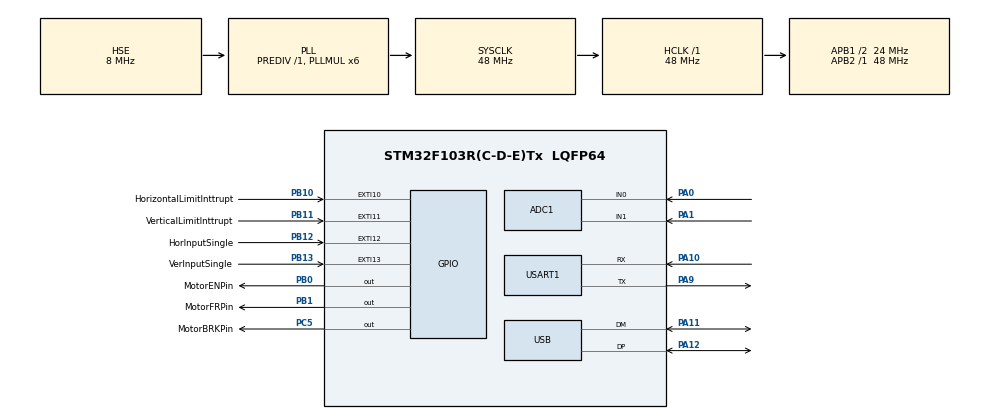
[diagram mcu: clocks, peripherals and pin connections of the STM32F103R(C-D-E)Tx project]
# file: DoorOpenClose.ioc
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ADC1.Channel-0\#ChannelRegularConversion=ADC_CHANNEL_0
ADC1.Channel-1\#ChannelRegularConversion=ADC_CHANNEL_1
ADC1.Channel-2\#ChannelRegularConversion=ADC_CHANNEL_TEMPSENSOR
ADC1.ContinuousConvMode=DISABLE
ADC1.DataAlign=ADC_DATAALIGN_RIGHT
ADC1.DiscontinuousConvMode=DISABLE
ADC1.EnableAnalogWatchDog=false
ADC1.EnableRegularConversion=ENABLE
ADC1.ExternalTrigConv=ADC_SOFTWARE_START
ADC1.InjNumberOfConversion=0
ADC1.NbrOfConversion=3
ADC1.NbrOfConversionFlag=1
ADC1.Rank-0\#ChannelRegularConversion=1
ADC1.Rank-1\#ChannelRegularConversion=2
ADC1.Rank-2\#ChannelRegularConversion=3
ADC1.SamplingTime-0\#ChannelRegularConversion=ADC_SAMPLETIME_1CYCLE_5
ADC1.SamplingTime-1\#ChannelRegularConversion=ADC_SAMPLETIME_1CYCLE_5
ADC1.SamplingTime-2\#ChannelRegularConversion=ADC_SAMPLETIME_1CYCLE_5
ADC1.ScanConvMode=ADC_SCAN_ENABLE
ADC1.master=1
Dma.ADC1.0.Direction=DMA_PERIPH_TO_MEMORY
Dma.ADC1.0.Instance=DMA1_Channel1
Dma.ADC1.0.MemDataAlignment=DMA_MDATAALIGN_WORD
Dma.ADC1.0.MemInc=DMA_MINC_ENABLE
Dma.ADC1.0.Mode=DMA_CIRCULAR
Dma.ADC1.0.PeriphDataAlignment=DMA_PDATAALIGN_WORD
Dma.ADC1.0.PeriphInc=DMA_PINC_DISABLE
Dma.ADC1.0.Priority=DMA_PRIORITY_LOW
Dma.Request0=ADC1
Dma.Request1=USART1_RX
Dma.Request2=USART1_TX
Dma.USART1_RX.1.Direction=DMA_PERIPH_TO_MEMORY
Dma.USART1_RX.1.Instance=DMA1_Channel5
Dma.USART1_RX.1.MemDataAlignment=DMA_MDATAALIGN_BYTE
Dma.USART1_RX.1.MemInc=DMA_MINC_ENABLE
Dma.USART1_RX.1.Mode=DMA_CIRCULAR
Dma.USART1_RX.1.PeriphDataAlignment=DMA_PDATAALIGN_BYTE
Dma.USART1_RX.1.PeriphInc=DMA_PINC_DISABLE
Dma.USART1_RX.1.Priority=DMA_PRIORITY_LOW
Dma.USART1_TX.2.Direction=DMA_MEMORY_TO_PERIPH
Dma.USART1_TX.2.Instance=DMA1_Channel4
Dma.USART1_TX.2.MemDataAlignment=DMA_MDATAALIGN_BYTE
Dma.USART1_TX.2.MemInc=DMA_MINC_ENABLE
Dma.USART1_TX.2.Mode=DMA_CIRCULAR
Dma.USART1_TX.2.PeriphDataAlignment=DMA_PDATAALIGN_BYTE
Dma.USART1_TX.2.PeriphInc=DMA_PINC_DISABLE
Dma.USART1_TX.2.Priority=DMA_PRIORITY_LOW
Mcu.Family=STM32F1
Mcu.Name=STM32F103R(C-D-E)Tx
Mcu.Package=LQFP64
NVIC.ADC1_2_IRQn=true\:0\:0\:false\:true\:true\:6\:true
NVIC.DMA1_Channel1_IRQn=true\:0\:0\:false\:true\:true\:8\:false
NVIC.DMA1_Channel4_IRQn=true\:0\:0\:false\:true\:true\:1\:false
NVIC.DMA1_Channel5_IRQn=true\:0\:0\:false\:true\:true\:2\:false
NVIC.EXTI15_10_IRQn=true\:0\:0\:false\:true\:true\:7\:true
NVIC.PriorityGroup=NVIC_PRIORITYGROUP_4
NVIC.TIM4_IRQn=true\:0\:0\:false\:true\:true\:4\:true
NVIC.USART1_IRQn=true\:0\:0\:false\:true\:true\:5\:true
NVIC.USB_LP_CAN1_RX0_IRQn=true\:0\:0\:false\:true\:true\:3\:true
PA0-WKUP.Signal=ADCx_IN0
PA1.Signal=ADCx_IN1
PA10.Mode=Asynchronous
PA10.Signal=USART1_RX
PA11.Mode=Device
PA11.Signal=USB_DM
PA12.Mode=Device
PA12.Signal=USB_DP
PA13.Mode=Serial_Wire
PA13.Signal=SYS_JTMS-SWDIO
PA14.Mode=Serial_Wire
PA14.Signal=SYS_JTCK-SWCLK
PA9.Mode=Asynchronous
PA9.Signal=USART1_TX
PB0.GPIO_Label=MotorENPin
PB0.Signal=GPIO_Output
PB1.GPIO_Label=MotorFRPin
PB1.Signal=GPIO_Output
PB10.GPIO_Label=HorizontalLimitInttrupt
PB10.GPIO_ModeDefaultEXTI=GPIO_MODE_IT_RISING_FALLING
PB10.GPIO_PuPd=GPIO_PULLUP
PB10.Signal=GPXTI10
PB11.GPIO_Label=VerticalLimitInttrupt
PB11.GPIO_ModeDefaultEXTI=GPIO_MODE_IT_RISING_FALLING
PB11.GPIO_PuPd=GPIO_PULLUP
PB11.Signal=GPXTI11
PB12.GPIO_Label=HorInputSingle
PB12.GPIO_ModeDefaultEXTI=GPIO_MODE_IT_RISING
PB12.GPIO_PuPd=GPIO_PULLDOWN
PB12.Signal=GPXTI12
PB13.GPIO_Label=VerInputSingle
PB13.GPIO_ModeDefaultEXTI=GPIO_MODE_IT_RISING
PB13.GPIO_PuPd=GPIO_PULLDOWN
PB13.Signal=GPXTI13
PC5.GPIO_Label=MotorBRKPin
PC5.Signal=GPIO_Output
PD0-OSC_IN.Mode=HSE-External-Oscillator
PD0-OSC_IN.Signal=RCC_OSC_IN
PD1-OSC_OUT.Mode=HSE-External-Oscillator
PD1-OSC_OUT.Signal=RCC_OSC_OUT
ProjectManager.HeapSize=0x200
ProjectManager.StackSize=0x400
ProjectManager.TargetToolchain=EWARM
RCC.ADCPresc=RCC_ADCPCLK2_DIV4
RCC.AHBFreq_Value=48000000
RCC.APB1CLKDivider=RCC_HCLK_DIV2
RCC.APB1Freq_Value=24000000
RCC.APB1TimFreq_Value=48000000
RCC.APB2Freq_Value=48000000
RCC.APB2TimFreq_Value=48000000
RCC.HCLKFreq_Value=48000000
RCC.PLLMUL=RCC_PLL_MUL6
RCC.SYSCLKFreq_VALUE=48000000
RCC.SYSCLKSource=RCC_SYSCLKSOURCE_PLLCLK
RCC.USBFreq_Value=48000000
SH.ADCx_IN0.0=ADC1_IN0,IN0
SH.ADCx_IN1.0=ADC1_IN1,IN1
TIM4.Period=1000-1
TIM4.Prescaler=48-1
USART1.VirtualMode=VM_ASYNC
USB_DEVICE.CLASS_NAME_FS=CDC
USB_DEVICE.VirtualMode=Cdc
USB_DEVICE.VirtualModeFS=Cdc_FS
VP_ADC1_TempSens_Input.Mode=IN-TempSens
VP_TIM4_VS_ClockSourceINT.Mode=Internal
VP_USB_DEVICE_VS_USB_DEVICE_CDC_FS.Mode=CDC_FS
board=DoorOpenClose

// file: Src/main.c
/**
  ******************************************************************************
  * File Name          : main.c
  * Description        : Main program body
  ******************************************************************************
  * This notice applies to any and all portions of this file
  * that are not between comment pairs USER CODE BEGIN and
  * USER CODE END. Other portions of this file, whether
  * inserted by the user or by software development tools
  * are owned by their respective copyright owners.
  *
  * Copyright (c) 2017 STMicroelectronics International N.V.
  * All rights reserved.
  *
  * Redistribution and use in source and binary forms, with or without
  * modification, are permitted, provided that the following conditions are met:
  *
  * 1. Redistribution of source code must retain the above copyright notice,
  *    this list of conditions and the following disclaimer.
  * 2. Redistributions in binary form must reproduce the above copyright notice,
  *    this list of conditions and the following disclaimer in the documentation
  *    and/or other materials provided with the distribution.
  * 3. Neither the name of STMicroelectronics nor the names of other
  *    contributors to this software may be used to endorse or promote products
  *    derived from this software without specific written permission.
  * 4. This software, including modifications and/or derivative works of this
  *    software, must execute solely and exclusively on microcontroller or
  *    microprocessor devices manufactured by or for STMicroelectronics.
  * 5. Redistribution and use of this software other than as permitted under
  *    this license is void and will automatically terminate your rights under
  *    this license.
  *
  * THIS SOFTWARE IS PROVIDED BY STMICROELECTRONICS AND CONTRIBUTORS "AS IS"
  * AND ANY EXPRESS, IMPLIED OR STATUTORY WARRANTIES, INCLUDING, BUT NOT
  * LIMITED TO, THE IMPLIED WARRANTIES OF MERCHANTABILITY, FITNESS FOR A
  * PARTICULAR PURPOSE AND NON-INFRINGEMENT OF THIRD PARTY INTELLECTUAL PROPERTY
  * RIGHTS ARE DISCLAIMED TO THE FULLEST EXTENT PERMITTED BY LAW. IN NO EVENT
  * SHALL STMICROELECTRONICS OR CONTRIBUTORS BE LIABLE FOR ANY DIRECT, INDIRECT,
  * INCIDENTAL, SPECIAL, EXEMPLARY, OR CONSEQUENTIAL DAMAGES (INCLUDING, BUT NOT
  * LIMITED TO, PROCUREMENT OF SUBSTITUTE GOODS OR SERVICES; LOSS OF USE, DATA,
  * OR PROFITS; OR BUSINESS INTERRUPTION) HOWEVER CAUSED AND ON ANY THEORY OF
  * LIABILITY, WHETHER IN CONTRACT, STRICT LIABILITY, OR TORT (INCLUDING
  * NEGLIGENCE OR OTHERWISE) ARISING IN ANY WAY OUT OF THE USE OF THIS SOFTWARE,
  * EVEN IF ADVISED OF THE POSSIBILITY OF SUCH DAMAGE.
  *
  ******************************************************************************
  */

#include "main.h"
#include "stm32f1xx_hal.h"
#include "adc.h"
#include "dma.h"
#include "tim.h"
#include "usart.h"
#include "usb_device.h"
#include "gpio.h"

/* USER CODE BEGIN PV */
/* Private variables ---------------------------------------------------------*/
uint32_t gTIM4Cnt = 0;
uint32_t ADC_Value[90];
uint8_t i;
uint32_t ad1,ad2;

GATEMACHINE gGateMachine;

/* USER CODE END PV */

void SystemClock_Config(void);
static void MX_NVIC_Init(void);

/* USER CODE BEGIN PFP */
/* Private function prototypes -----------------------------------------------*/

/* USER CODE END PFP */

int main(void)
{

  /* MCU Configuration----------------------------------------------------------*/

  /* Reset of all peripherals, Initializes the Flash interface and the Systick. */
  HAL_Init();

  /* Configure the system clock */
  SystemClock_Config();

  /* Initialize all configured peripherals */
  MX_GPIO_Init();
  MX_DMA_Init();
  MX_TIM4_Init();
  MX_USART1_UART_Init();
  MX_ADC1_Init();
  MX_USB_DEVICE_Init();

  /* Initialize interrupts */
  MX_NVIC_Init();

  /* USER CODE BEGIN 2 */
  //HAL_ADC_Start_DMA(&hadc1,(uint32_t*)&ADC_Value,90);
  //HAL_TIM_Base_Init(&htim4);
  HAL_TIM_Base_Start_IT(&htim4);
  BSP_Motor_Init();

  /* USER CODE END 2 */

  /* Infinite loop */
  while (1)
  {

  /* USER CODE BEGIN 3 */
    if(1 == gGateMachine.RunningState)
    {
      if(1 == gGateMachine.RunDir)
      {
        BSP_Motor_Running(UPDir);
        gGateMachine.RunningState = 0;
      }

      if(0 == gGateMachine.RunDir)
      {
        BSP_Motor_Running(DownDir);
        gGateMachine.RunningState = 0;
      }
    }

    gGateMachine.RunningState = 1;
    HAL_Delay(8000);

//    BSP_Motor_Running(UPDir);
//    HAL_Delay(1500);
//    BSP_Motor_Stop();
//    HAL_Delay(2500);
//    BSP_Motor_Running(DownDir);
//    HAL_Delay(1500);
//    BSP_Motor_Stop();
//    HAL_Delay(2500);

  }
  /* USER CODE END 3 */

}

/** System Clock Configuration
*/
void SystemClock_Config(void)
{

  RCC_OscInitTypeDef RCC_OscInitStruct;
  RCC_ClkInitTypeDef RCC_ClkInitStruct;
  RCC_PeriphCLKInitTypeDef PeriphClkInit;

    /**Initializes the CPU, AHB and APB busses clocks
    */
  RCC_OscInitStruct.OscillatorType = RCC_OSCILLATORTYPE_HSE;
  RCC_OscInitStruct.HSEState = RCC_HSE_ON;
  RCC_OscInitStruct.HSEPredivValue = RCC_HSE_PREDIV_DIV1;
  RCC_OscInitStruct.HSIState = RCC_HSI_ON;
  RCC_OscInitStruct.PLL.PLLState = RCC_PLL_ON;
  RCC_OscInitStruct.PLL.PLLSource = RCC_PLLSOURCE_HSE;
  RCC_OscInitStruct.PLL.PLLMUL = RCC_PLL_MUL6;
  if (HAL_RCC_OscConfig(&RCC_OscInitStruct) != HAL_OK)
  {
    _Error_Handler(__FILE__, __LINE__);
  }

    /**Initializes the CPU, AHB and APB busses clocks
    */
  RCC_ClkInitStruct.ClockType = RCC_CLOCKTYPE_HCLK|RCC_CLOCKTYPE_SYSCLK
                              |RCC_CLOCKTYPE_PCLK1|RCC_CLOCKTYPE_PCLK2;
  RCC_ClkInitStruct.SYSCLKSource = RCC_SYSCLKSOURCE_PLLCLK;
  RCC_ClkInitStruct.AHBCLKDivider = RCC_SYSCLK_DIV1;
  RCC_ClkInitStruct.APB1CLKDivider = RCC_HCLK_DIV2;
  RCC_ClkInitStruct.APB2CLKDivider = RCC_HCLK_DIV1;

  if (HAL_RCC_ClockConfig(&RCC_ClkInitStruct, FLASH_LATENCY_1) != HAL_OK)
  {
    _Error_Handler(__FILE__, __LINE__);
  }

  PeriphClkInit.PeriphClockSelection = RCC_PERIPHCLK_ADC|RCC_PERIPHCLK_USB;
  PeriphClkInit.AdcClockSelection = RCC_ADCPCLK2_DIV4;
  PeriphClkInit.UsbClockSelection = RCC_USBCLKSOURCE_PLL;
  if (HAL_RCCEx_PeriphCLKConfig(&PeriphClkInit) != HAL_OK)
  {
    _Error_Handler(__FILE__, __LINE__);
  }

    /**Configure the Systick interrupt time
    */
  HAL_SYSTICK_Config(HAL_RCC_GetHCLKFreq()/1000);

    /**Configure the Systick
    */
  HAL_SYSTICK_CLKSourceConfig(SYSTICK_CLKSOURCE_HCLK);

  /* SysTick_IRQn interrupt configuration */
  HAL_NVIC_SetPriority(SysTick_IRQn, 0, 0);
}

/** NVIC Configuration
*/
static void MX_NVIC_Init(void)
{
  /* DMA1_Channel4_IRQn interrupt configuration */
  HAL_NVIC_SetPriority(DMA1_Channel4_IRQn, 0, 0);
  HAL_NVIC_EnableIRQ(DMA1_Channel4_IRQn);
  /* DMA1_Channel5_IRQn interrupt configuration */
  HAL_NVIC_SetPriority(DMA1_Channel5_IRQn, 0, 0);
  HAL_NVIC_EnableIRQ(DMA1_Channel5_IRQn);
  /* USB_LP_CAN1_RX0_IRQn interrupt configuration */
  HAL_NVIC_SetPriority(USB_LP_CAN1_RX0_IRQn, 0, 0);
  HAL_NVIC_EnableIRQ(USB_LP_CAN1_RX0_IRQn);
  /* TIM4_IRQn interrupt configuration */
  HAL_NVIC_SetPriority(TIM4_IRQn, 0, 0);
  HAL_NVIC_EnableIRQ(TIM4_IRQn);
  /* USART1_IRQn interrupt configuration */
  HAL_NVIC_SetPriority(USART1_IRQn, 0, 0);
  HAL_NVIC_EnableIRQ(USART1_IRQn);
  /* ADC1_2_IRQn interrupt configuration */
  HAL_NVIC_SetPriority(ADC1_2_IRQn, 0, 0);
  HAL_NVIC_EnableIRQ(ADC1_2_IRQn);
  /* EXTI15_10_IRQn interrupt configuration */
  HAL_NVIC_SetPriority(EXTI15_10_IRQn, 0, 0);
  HAL_NVIC_EnableIRQ(EXTI15_10_IRQn);
  /* DMA1_Channel1_IRQn interrupt configuration */
  HAL_NVIC_SetPriority(DMA1_Channel1_IRQn, 0, 0);
  HAL_NVIC_EnableIRQ(DMA1_Channel1_IRQn);
}

/* USER CODE BEGIN 4 */
/**
  * @brief  EXTI line detection callbacks.
  * @param  GPIO_Pin: Specifies the pins connected EXTI line
  * @retval None
  */
void HAL_GPIO_EXTI_Callback(uint16_t GPIO_Pin)
{
  /* Prevent unused argument(s) compilation warning */
  UNUSED(GPIO_Pin);
  /* NOTE: This function Should not be modified, when the callback is needed,
           the HAL_GPIO_EXTI_Callback could be implemented in the user file
   */
  if(VerInputSingle_Pin == GPIO_Pin)
  {
    gGateMachine.VerticalRasterState = 1;
    gGateMachine.HorizontalRasterState = 0;
    BSP_Motor_Stop();
    gGateMachine.RunningState = 0;
    gGateMachine.RunDir = 1;
  }

  if(HorInputSingle_Pin == GPIO_Pin)
  {
    gGateMachine.HorizontalRasterState = 1;
    gGateMachine.VerticalRasterState = 0;
    BSP_Motor_Stop();
    gGateMachine.RunningState = 0;
    gGateMachine.RunDir = 0;
  }
}

/**
  * @brief  Period elapsed callback in non blocking mode
  * @param  htim : TIM handle
  * @retval None
  */
void HAL_TIM_PeriodElapsedCallback(TIM_HandleTypeDef *htim)
{
  /* Prevent unused argument(s) compilation warning */
  UNUSED(htim);
  /* NOTE : This function Should not be modified, when the callback is needed,
            the __HAL_TIM_PeriodElapsedCallback could be implemented in the user file
   */
  if(htim->Instance == htim4.Instance)
  {
//    if(GPIO_PIN_SET == HAL_GPIO_ReadPin(VerIntputSingle_GPIO_Port,VerIntputSingle_Pin))
//    {
//      gGateMachine.VerticalRasterState = 1;
//      if(1 == gGateMachine.RunDir)
//      {
//          if(1 == gGateMachine.RunningState)
//          {
//            BSP_Motor_Stop();
//            gGateMachine.RunningState = 0;
//          }
//          gGateMachine.RunDir = 0;  //��բ����
//      }
//    }
//    else
//    {
//      gGateMachine.VerticalRasterState = 0;
//    }
//
//    if(GPIO_PIN_SET == HAL_GPIO_ReadPin(HorInputSingle_GPIO_Port,HorInputSingle_Pin))
//    {
//      gGateMachine.HorizontalRasterState = 1;
//      if(0 == gGateMachine.RunDir)
//      {
//          if(1 == gGateMachine.RunningState)
//          {
//            BSP_Motor_Stop();
//            gGateMachine.RunningState = 0;
//          }
//          gGateMachine.RunDir = 1;  //��բ����
//      }
//    }
//    else
//    {
//      gGateMachine.HorizontalRasterState = 0;
//    }
//
//    gTIM4Cnt ++;
//    if(gTIM4Cnt > 1000)
//    {
//      if(0 == gGateMachine.RunningState)
//      {
//        gGateMachine.RunningState = 1;
//      }
//      gTIM4Cnt = 0;
//    }
  }
}

/**
  * @brief  Conversion complete callback in non blocking mode
  * @param  hadc: ADC handle
  * @retval None
  */
void HAL_ADC_ConvCpltCallback(ADC_HandleTypeDef* hadc)
{
  /* Prevent unused argument(s) compilation warning */
  UNUSED(hadc);
  /* NOTE : This function should not be modified. When the callback is needed,
            function HAL_ADC_ConvCpltCallback must be implemented in the user file.
   */

}

/* USER CODE END 4 */

void _Error_Handler(char * file, int line)
{
  while(1)
  {
  }
}

/************************ (C) COPYRIGHT STMicroelectronics *****END OF FILE****/
